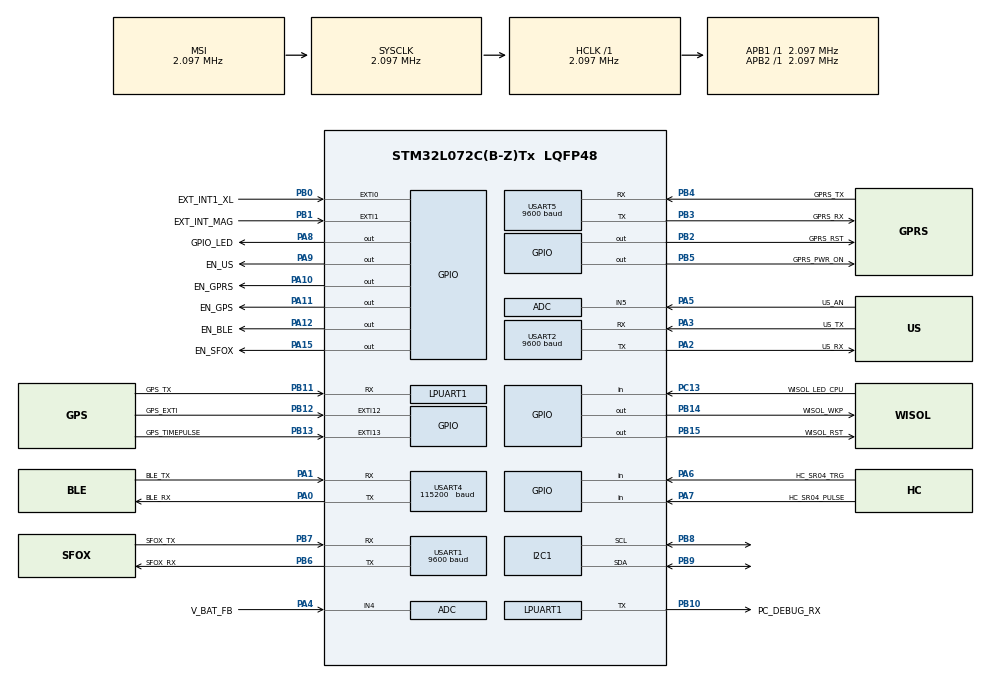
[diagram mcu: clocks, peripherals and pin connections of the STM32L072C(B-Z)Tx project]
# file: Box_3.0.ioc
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Dma.ADC.0.Direction=DMA_PERIPH_TO_MEMORY
Dma.ADC.0.Instance=DMA1_Channel1
Dma.ADC.0.MemDataAlignment=DMA_MDATAALIGN_WORD
Dma.ADC.0.MemInc=DMA_MINC_ENABLE
Dma.ADC.0.Mode=DMA_CIRCULAR
Dma.ADC.0.PeriphDataAlignment=DMA_PDATAALIGN_HALFWORD
Dma.ADC.0.PeriphInc=DMA_PINC_DISABLE
Dma.ADC.0.Priority=DMA_PRIORITY_LOW
Dma.Request0=ADC
Dma.Request1=USART5_RX
Dma.Request2=USART5_TX
Dma.Request3=USART4_RX
Dma.Request4=USART4_TX
Dma.USART4_RX.3.Direction=DMA_PERIPH_TO_MEMORY
Dma.USART4_RX.3.Instance=DMA1_Channel2
Dma.USART4_RX.3.MemDataAlignment=DMA_MDATAALIGN_BYTE
Dma.USART4_RX.3.MemInc=DMA_MINC_ENABLE
Dma.USART4_RX.3.Mode=DMA_NORMAL
Dma.USART4_RX.3.PeriphDataAlignment=DMA_PDATAALIGN_BYTE
Dma.USART4_RX.3.PeriphInc=DMA_PINC_DISABLE
Dma.USART4_RX.3.Priority=DMA_PRIORITY_HIGH
Dma.USART4_TX.4.Direction=DMA_MEMORY_TO_PERIPH
Dma.USART4_TX.4.Instance=DMA1_Channel3
Dma.USART4_TX.4.MemDataAlignment=DMA_MDATAALIGN_BYTE
Dma.USART4_TX.4.MemInc=DMA_MINC_ENABLE
Dma.USART4_TX.4.Mode=DMA_NORMAL
Dma.USART4_TX.4.PeriphDataAlignment=DMA_PDATAALIGN_BYTE
Dma.USART4_TX.4.PeriphInc=DMA_PINC_DISABLE
Dma.USART4_TX.4.Priority=DMA_PRIORITY_HIGH
Dma.USART5_RX.1.Direction=DMA_PERIPH_TO_MEMORY
Dma.USART5_RX.1.Instance=DMA1_Channel6
Dma.USART5_RX.1.MemDataAlignment=DMA_MDATAALIGN_BYTE
Dma.USART5_RX.1.MemInc=DMA_MINC_ENABLE
Dma.USART5_RX.1.Mode=DMA_NORMAL
Dma.USART5_RX.1.PeriphDataAlignment=DMA_PDATAALIGN_BYTE
Dma.USART5_RX.1.PeriphInc=DMA_PINC_DISABLE
Dma.USART5_RX.1.Priority=DMA_PRIORITY_VERY_HIGH
Dma.USART5_TX.2.Direction=DMA_MEMORY_TO_PERIPH
Dma.USART5_TX.2.Instance=DMA1_Channel7
Dma.USART5_TX.2.MemDataAlignment=DMA_MDATAALIGN_BYTE
Dma.USART5_TX.2.MemInc=DMA_MINC_ENABLE
Dma.USART5_TX.2.Mode=DMA_NORMAL
Dma.USART5_TX.2.PeriphDataAlignment=DMA_PDATAALIGN_BYTE
Dma.USART5_TX.2.PeriphInc=DMA_PINC_DISABLE
Dma.USART5_TX.2.Priority=DMA_PRIORITY_VERY_HIGH
LPUART1.BaudRate=9600
LPUART1.WordLength=UART_WORDLENGTH_8B
Mcu.Family=STM32L0
Mcu.Name=STM32L072C(B-Z)Tx
Mcu.Package=LQFP48
NVIC.ADC1_COMP_IRQn=true\:0\:0\:false\:false\:true\:true\:true
NVIC.DMA1_Channel1_IRQn=true\:0\:0\:false\:false\:true\:false\:true
NVIC.DMA1_Channel2_3_IRQn=true\:0\:0\:false\:false\:true\:false\:true
NVIC.DMA1_Channel4_5_6_7_IRQn=true\:0\:0\:false\:false\:true\:false\:true
NVIC.RNG_LPUART1_IRQn=true\:0\:0\:false\:false\:true\:true\:true
NVIC.USART1_IRQn=true\:0\:0\:false\:false\:true\:true\:true
NVIC.USART2_IRQn=true\:0\:0\:false\:false\:true\:true\:true
NVIC.USART4_5_IRQn=true\:0\:0\:false\:false\:true\:true\:true
PA0.GPIO_Label=BLE_RX
PA0.Mode=Asynchronous
PA0.Signal=USART4_TX
PA1.GPIO_Label=BLE_TX
PA1.Mode=Asynchronous
PA1.Signal=USART4_RX
PA10.GPIO_Label=EN_GPRS
PA10.Signal=GPIO_Output
PA11.GPIO_Label=EN_GPS
PA11.Signal=GPIO_Output
PA12.GPIO_Label=EN_BLE
PA12.Signal=GPIO_Output
PA13.Mode=Serial_Wire
PA13.Signal=SYS_SWDIO
PA14.Mode=Serial_Wire
PA14.Signal=SYS_SWCLK
PA15.GPIO_Label=EN_SFOX
PA15.Signal=GPIO_Output
PA2.GPIO_Label=US_RX
PA2.Mode=Asynchronous
PA2.Signal=USART2_TX
PA3.GPIO_Label=US_TX
PA3.Mode=Asynchronous
PA3.Signal=USART2_RX
PA4.GPIO_Label=V_BAT_FB
PA4.Mode=IN4
PA4.Signal=ADC_IN4
PA5.GPIO_Label=US_AN
PA5.Mode=IN5
PA5.Signal=ADC_IN5
PA6.GPIO_Label=HC_SR04_TRG
PA6.Signal=GPIO_Input
PA7.GPIO_Label=HC_SR04_PULSE
PA7.Signal=GPIO_Input
PA8.GPIO_Label=GPIO_LED
PA8.GPIO_PuPd=GPIO_PULLDOWN
PA8.GPIO_Speed=GPIO_SPEED_FREQ_HIGH
PA8.Signal=GPIO_Output
PA9.GPIO_Label=EN_US
PA9.Signal=GPIO_Output
PB0.GPIO_Label=EXT_INT1_XL
PB0.Signal=GPXTI0
PB1.GPIO_Label=EXT_INT_MAG
PB1.Signal=GPXTI1
PB10.GPIO_Label=PC_DEBUG_RX
PB10.Mode=Asynchronous
PB10.Signal=LPUART1_TX
PB11.GPIO_Label=GPS_TX
PB11.Mode=Asynchronous
PB11.Signal=LPUART1_RX
PB12.GPIO_Label=GPS_EXTI
PB12.Signal=GPXTI12
PB13.GPIO_Label=GPS_TIMEPULSE
PB13.Signal=GPXTI13
PB14.GPIO_Label=WISOL_WKP
PB14.PinState=GPIO_PIN_SET
PB14.Signal=GPIO_Output
PB15.GPIO_Label=WISOL_RST
PB15.PinState=GPIO_PIN_SET
PB15.Signal=GPIO_Output
PB2.GPIO_Label=GPRS_RST
PB2.GPIO_ModeDefaultOutputPP=GPIO_MODE_OUTPUT_OD
PB2.GPIO_PuPd=GPIO_PULLUP
PB2.PinState=GPIO_PIN_SET
PB2.Signal=GPIO_Output
PB3.GPIO_Label=GPRS_RX
PB3.Mode=Asynchronous
PB3.Signal=USART5_TX
PB4.GPIO_Label=GPRS_TX
PB4.Mode=Asynchronous
PB4.Signal=USART5_RX
PB5.GPIO_Label=GPRS_PWR_ON
PB5.Signal=GPIO_Output
PB6.GPIO_Label=SFOX_RX
PB6.Mode=Asynchronous
PB6.Signal=USART1_TX
PB7.GPIO_Label=SFOX_TX
PB7.Mode=Asynchronous
PB7.Signal=USART1_RX
PB8.Mode=I2C
PB8.Signal=I2C1_SCL
PB9.Mode=I2C
PB9.Signal=I2C1_SDA
PC13.GPIO_Label=WISOL_LED_CPU
PC13.Signal=GPIO_Input
ProjectManager.HeapSize=0x200
ProjectManager.StackSize=0x400
ProjectManager.TargetToolchain=TrueSTUDIO
RCC.ADCFreq_Value=4000000
RCC.AHBFreq_Value=2097000
RCC.APB1Freq_Value=2097000
RCC.APB1TimFreq_Value=2097000
RCC.APB2Freq_Value=2097000
RCC.APB2TimFreq_Value=2097000
RCC.HCLKFreq_Value=2097000
RCC.HSE_Timout=1000
RCC.HSE_VALUE=8000000
RCC.HSI16_VALUE=16000000
RCC.HSI48_VALUE=48000000
RCC.HSIRCDiv=4
RCC.HSI_VALUE=4000000
RCC.INSTRUCTION_CACHE_ENABLE=0
RCC.LSE_VALUE=32768
RCC.MSI_VALUE=2097000
RCC.PLLDIV=RCC_PLLDIV_4
RCC.PLLMUL=RCC_PLLMUL_4
RCC.PREFETCH_ENABLE=1
RCC.SYSCLKFreq_VALUE=2097000
RCC.VCOOutputFreq_Value=16000000
USART1.BaudRate=9600
USART1.VirtualMode-Asynchronous=VM_ASYNC
USART2.BaudRate=9600
USART2.VirtualMode-Asynchronous=VM_ASYNC
USART4.BaudRate=115200  
USART4.VirtualMode-Asynchronous=VM_ASYNC
USART5.BaudRate=9600
USART5.VirtualMode-Asynchronous=VM_ASYNC
VP_ADC_TempSens_Input.Mode=IN-TempSens
board=custom

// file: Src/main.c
/* USER CODE BEGIN Header */
/**
 ******************************************************************************
 * @file           : main.c
 * @brief          : Main program body
 * @by oscar machado de souza
 * @init - 09/03/2020
 * @project - wizebox
 * @company - Wize Company LTDA
 * @Hardware version - 3.0 (by Bruno Fernandes)
 ******************************************************************************
 * @attention
 *
 * <h2><center>&copy; Copyright (c) 2020 STMicroelectronics.
 * All rights reserved.</center></h2>
 *
 * This software component is licensed by ST under BSD 3-Clause license,
 * the "License"; You may not use this file except in compliance with the
 * License. You may obtain a copy of the License at:
 *                        opensource.org/licenses/BSD-3-Clause
 *
 ******************************************************************************
 ******************************************************************************
 ******************************************************************************
 ******************************************************************************
 ******************************************************************************
 oVersion - 1.0.0	- 09/03/2020 - sigfox enable and work (just init transmission) (test ok).
 oVersion - 1.0.1 	- 10/03/2020 - encoder fix bug.
 oVersion - 1.1.0    - 11/03/2020 - Battery and internal temperature adc read (test ok).
 oVersion - 1.2.0	- 11/03/2020 - LSM303AH library implementation (test ok).
 oVersion - 1.3.0	- 11/02/2020 - GPS implementation (test ok).
 oVersion - 1.3.1	- 12/02/2020 - GPS code optimization.
 oVersion - 1.4.0	- 16/03/2020 - SEN031x implementation (test ok).
 oVersion - 1.5.0	- 16/03/2020 - sensors library implementation - get all sensors values.
 oVersion - 1.6.0	- 16/03/2020 - program library implementation - looping function.
 oVersion - 1.7.0	- 17/03/2020 - Sigfox mensagens imlementation - uplink and downlink frame.
 oVersion - 1.8.0 	- 30/03/2020 - Sara G450 library implementation (test ok).
 oVersion - 1.9.0 	- 07/04/2020 - Nina B112 receiver data mode from BLE device (ublox BLE android app) -
 	 	 	 	 	 	 	 	 	 https://www.u-blox.com/en/product/bluetooth-ios-and-android-app
 */
/* USER CODE END Header */

#include "main.h"

ADC_HandleTypeDef hadc;
DMA_HandleTypeDef hdma_adc;

I2C_HandleTypeDef hi2c1;

UART_HandleTypeDef hlpuart1;
UART_HandleTypeDef huart1;
UART_HandleTypeDef huart2;
UART_HandleTypeDef huart4;
UART_HandleTypeDef huart5;
DMA_HandleTypeDef hdma_usart4_rx;
DMA_HandleTypeDef hdma_usart4_tx;
DMA_HandleTypeDef hdma_usart5_rx;
DMA_HandleTypeDef hdma_usart5_tx;

/* USER CODE BEGIN PV */

//variable to keep USART received data
//__IO ITStatus UartReady = RESET;
/* USER CODE END PV */

void SystemClock_Config(void);
static void MX_GPIO_Init(void);
static void MX_DMA_Init(void);
static void MX_ADC_Init(void);
static void MX_I2C1_Init(void);
static void MX_LPUART1_UART_Init(void);
static void MX_USART1_UART_Init(void);
static void MX_USART2_UART_Init(void);
static void MX_USART4_UART_Init(void);
static void MX_USART5_UART_Init(void);
/* USER CODE BEGIN PFP */
float get_temp(uint32_t variable);

/* USER CODE END PFP */

int main(void) {

	/* MCU Configuration--------------------------------------------------------*/

	/* Reset of all peripherals, Initializes the Flash interface and the Systick. */
	HAL_Init();

	/* Configure the system clock */
	SystemClock_Config();

	/* Initialize all configured peripherals */
	MX_GPIO_Init();
	MX_DMA_Init();
	MX_ADC_Init();
	MX_I2C1_Init();
	MX_LPUART1_UART_Init();
	MX_USART1_UART_Init();
	MX_USART2_UART_Init();
	MX_USART4_UART_Init();
	MX_USART5_UART_Init();
	/* USER CODE BEGIN 2 */

	blink(10);
	fn_set_perimetral_nina();
	//fn_start_program();

	/* USER CODE END 2 */

	/* Infinite loop */
	while (1) {

	}
}

void SystemClock_Config(void) {
	RCC_OscInitTypeDef RCC_OscInitStruct = { 0 };
	RCC_ClkInitTypeDef RCC_ClkInitStruct = { 0 };
	RCC_PeriphCLKInitTypeDef PeriphClkInit = { 0 };

	/** Configure the main internal regulator output voltage
	 */
	__HAL_PWR_VOLTAGESCALING_CONFIG(PWR_REGULATOR_VOLTAGE_SCALE1);
	/** Initializes the CPU, AHB and APB busses clocks
	 */
	RCC_OscInitStruct.OscillatorType = RCC_OSCILLATORTYPE_MSI;
	RCC_OscInitStruct.MSIState = RCC_MSI_ON;
	RCC_OscInitStruct.MSICalibrationValue = 0;
	RCC_OscInitStruct.MSIClockRange = RCC_MSIRANGE_5;
	RCC_OscInitStruct.PLL.PLLState = RCC_PLL_NONE;
	if (HAL_RCC_OscConfig(&RCC_OscInitStruct) != HAL_OK) {
		Error_Handler();
	}
	/** Initializes the CPU, AHB and APB busses clocks
	 */
	RCC_ClkInitStruct.ClockType = RCC_CLOCKTYPE_HCLK | RCC_CLOCKTYPE_SYSCLK
			| RCC_CLOCKTYPE_PCLK1 | RCC_CLOCKTYPE_PCLK2;
	RCC_ClkInitStruct.SYSCLKSource = RCC_SYSCLKSOURCE_MSI;
	RCC_ClkInitStruct.AHBCLKDivider = RCC_SYSCLK_DIV1;
	RCC_ClkInitStruct.APB1CLKDivider = RCC_HCLK_DIV1;
	RCC_ClkInitStruct.APB2CLKDivider = RCC_HCLK_DIV1;

	if (HAL_RCC_ClockConfig(&RCC_ClkInitStruct, FLASH_LATENCY_0) != HAL_OK) {
		Error_Handler();
	}
	PeriphClkInit.PeriphClockSelection = RCC_PERIPHCLK_USART1
			| RCC_PERIPHCLK_USART2 | RCC_PERIPHCLK_LPUART1 | RCC_PERIPHCLK_I2C1;
	PeriphClkInit.Usart1ClockSelection = RCC_USART1CLKSOURCE_PCLK2;
	PeriphClkInit.Usart2ClockSelection = RCC_USART2CLKSOURCE_PCLK1;
	PeriphClkInit.Lpuart1ClockSelection = RCC_LPUART1CLKSOURCE_PCLK1;
	PeriphClkInit.I2c1ClockSelection = RCC_I2C1CLKSOURCE_PCLK1;
	if (HAL_RCCEx_PeriphCLKConfig(&PeriphClkInit) != HAL_OK) {
		Error_Handler();
	}
}

static void MX_ADC_Init(void) {

	ADC_ChannelConfTypeDef sConfig = { 0 };

	/** Configure the global features of the ADC (Clock, Resolution, Data Alignment and number of conversion)
	 */
	hadc.Instance = ADC1;
	hadc.Init.OversamplingMode = DISABLE;
	hadc.Init.ClockPrescaler = ADC_CLOCK_SYNC_PCLK_DIV1;
	hadc.Init.Resolution = ADC_RESOLUTION_12B;
	hadc.Init.SamplingTime = ADC_SAMPLETIME_1CYCLE_5;
	hadc.Init.ScanConvMode = ADC_SCAN_DIRECTION_FORWARD;
	hadc.Init.DataAlign = ADC_DATAALIGN_RIGHT;
	hadc.Init.ContinuousConvMode = DISABLE;
	hadc.Init.DiscontinuousConvMode = DISABLE;
	hadc.Init.ExternalTrigConvEdge = ADC_EXTERNALTRIGCONVEDGE_NONE;
	hadc.Init.ExternalTrigConv = ADC_SOFTWARE_START;
	hadc.Init.DMAContinuousRequests = DISABLE;
	hadc.Init.EOCSelection = ADC_EOC_SINGLE_CONV;
	hadc.Init.Overrun = ADC_OVR_DATA_PRESERVED;
	hadc.Init.LowPowerAutoWait = DISABLE;
	hadc.Init.LowPowerFrequencyMode = DISABLE;
	hadc.Init.LowPowerAutoPowerOff = DISABLE;
	if (HAL_ADC_Init(&hadc) != HAL_OK) {
		Error_Handler();
	}
	/** Configure for the selected ADC regular channel to be converted.
	 */
	sConfig.Channel = ADC_CHANNEL_4;
	sConfig.Rank = ADC_RANK_CHANNEL_NUMBER;
	if (HAL_ADC_ConfigChannel(&hadc, &sConfig) != HAL_OK) {
		Error_Handler();
	}
	/** Configure for the selected ADC regular channel to be converted.
	 */
	sConfig.Channel = ADC_CHANNEL_5;
	if (HAL_ADC_ConfigChannel(&hadc, &sConfig) != HAL_OK) {
		Error_Handler();
	}
	/** Configure for the selected ADC regular channel to be converted.
	 */
	sConfig.Channel = ADC_CHANNEL_TEMPSENSOR;
	if (HAL_ADC_ConfigChannel(&hadc, &sConfig) != HAL_OK) {
		Error_Handler();
	}
	/* USER CODE BEGIN ADC_Init 2 */
	HAL_ADC_Start_DMA(&hadc, value, 3);
	/* USER CODE END ADC_Init 2 */

}

static void MX_I2C1_Init(void) {

	hi2c1.Instance = I2C1;
	hi2c1.Init.Timing = 0x00000708;
	hi2c1.Init.OwnAddress1 = 0;
	hi2c1.Init.AddressingMode = I2C_ADDRESSINGMODE_7BIT;
	hi2c1.Init.DualAddressMode = I2C_DUALADDRESS_DISABLE;
	hi2c1.Init.OwnAddress2 = 0;
	hi2c1.Init.OwnAddress2Masks = I2C_OA2_NOMASK;
	hi2c1.Init.GeneralCallMode = I2C_GENERALCALL_DISABLE;
	hi2c1.Init.NoStretchMode = I2C_NOSTRETCH_DISABLE;
	if (HAL_I2C_Init(&hi2c1) != HAL_OK) {
		Error_Handler();
	}
	/** Configure Analogue filter
	 */
	if (HAL_I2CEx_ConfigAnalogFilter(&hi2c1, I2C_ANALOGFILTER_ENABLE)
			!= HAL_OK) {
		Error_Handler();
	}
	/** Configure Digital filter
	 */
	if (HAL_I2CEx_ConfigDigitalFilter(&hi2c1, 0) != HAL_OK) {
		Error_Handler();
	}

}

static void MX_LPUART1_UART_Init(void) {

	hlpuart1.Instance = LPUART1;
	hlpuart1.Init.BaudRate = 9600;
	hlpuart1.Init.WordLength = UART_WORDLENGTH_8B;
	hlpuart1.Init.StopBits = UART_STOPBITS_1;
	hlpuart1.Init.Parity = UART_PARITY_NONE;
	hlpuart1.Init.Mode = UART_MODE_TX_RX;
	hlpuart1.Init.HwFlowCtl = UART_HWCONTROL_NONE;
	hlpuart1.Init.OneBitSampling = UART_ONE_BIT_SAMPLE_DISABLE;
	hlpuart1.AdvancedInit.AdvFeatureInit = UART_ADVFEATURE_NO_INIT;
	if (HAL_UART_Init(&hlpuart1) != HAL_OK) {
		Error_Handler();
	}

}

static void MX_USART1_UART_Init(void) {

	huart1.Instance = USART1;
	huart1.Init.BaudRate = 9600;
	huart1.Init.WordLength = UART_WORDLENGTH_8B;
	huart1.Init.StopBits = UART_STOPBITS_1;
	huart1.Init.Parity = UART_PARITY_NONE;
	huart1.Init.Mode = UART_MODE_TX_RX;
	huart1.Init.HwFlowCtl = UART_HWCONTROL_NONE;
	huart1.Init.OverSampling = UART_OVERSAMPLING_16;
	huart1.Init.OneBitSampling = UART_ONE_BIT_SAMPLE_DISABLE;
	huart1.AdvancedInit.AdvFeatureInit = UART_ADVFEATURE_NO_INIT;
	if (HAL_UART_Init(&huart1) != HAL_OK) {
		Error_Handler();
	}

}

static void MX_USART2_UART_Init(void) {

	huart2.Instance = USART2;
	huart2.Init.BaudRate = 9600;
	huart2.Init.WordLength = UART_WORDLENGTH_8B;
	huart2.Init.StopBits = UART_STOPBITS_1;
	huart2.Init.Parity = UART_PARITY_NONE;
	huart2.Init.Mode = UART_MODE_TX_RX;
	huart2.Init.HwFlowCtl = UART_HWCONTROL_NONE;
	huart2.Init.OverSampling = UART_OVERSAMPLING_16;
	huart2.Init.OneBitSampling = UART_ONE_BIT_SAMPLE_DISABLE;
	huart2.AdvancedInit.AdvFeatureInit = UART_ADVFEATURE_NO_INIT;
	if (HAL_UART_Init(&huart2) != HAL_OK) {
		Error_Handler();
	}

}

static void MX_USART4_UART_Init(void) {

	huart4.Instance = USART4;
	huart4.Init.BaudRate = 115200;
	huart4.Init.WordLength = UART_WORDLENGTH_8B;
	huart4.Init.StopBits = UART_STOPBITS_1;
	huart4.Init.Parity = UART_PARITY_NONE;
	huart4.Init.Mode = UART_MODE_TX_RX;
	huart4.Init.HwFlowCtl = UART_HWCONTROL_NONE;
	huart4.Init.OverSampling = UART_OVERSAMPLING_16;
	huart4.Init.OneBitSampling = UART_ONE_BIT_SAMPLE_DISABLE;
	huart4.AdvancedInit.AdvFeatureInit = UART_ADVFEATURE_NO_INIT;
	if (HAL_UART_Init(&huart4) != HAL_OK) {
		Error_Handler();
	}

}

static void MX_USART5_UART_Init(void) {

	huart5.Instance = USART5;
	huart5.Init.BaudRate = 9600;
	huart5.Init.WordLength = UART_WORDLENGTH_8B;
	huart5.Init.StopBits = UART_STOPBITS_1;
	huart5.Init.Parity = UART_PARITY_NONE;
	huart5.Init.Mode = UART_MODE_TX_RX;
	huart5.Init.HwFlowCtl = UART_HWCONTROL_NONE;
	huart5.Init.OverSampling = UART_OVERSAMPLING_16;
	huart5.Init.OneBitSampling = UART_ONE_BIT_SAMPLE_DISABLE;
	huart5.AdvancedInit.AdvFeatureInit = UART_ADVFEATURE_NO_INIT;
	if (HAL_UART_Init(&huart5) != HAL_OK) {
		Error_Handler();
	}

}

static void MX_DMA_Init(void) {

	/* DMA controller clock enable */
	__HAL_RCC_DMA1_CLK_ENABLE()
	;

	/* DMA interrupt init */
	/* DMA1_Channel1_IRQn interrupt configuration */
	HAL_NVIC_SetPriority(DMA1_Channel1_IRQn, 0, 0);
	HAL_NVIC_EnableIRQ(DMA1_Channel1_IRQn);
	/* DMA1_Channel2_3_IRQn interrupt configuration */
	HAL_NVIC_SetPriority(DMA1_Channel2_3_IRQn, 0, 0);
	HAL_NVIC_EnableIRQ(DMA1_Channel2_3_IRQn);
	/* DMA1_Channel4_5_6_7_IRQn interrupt configuration */
	HAL_NVIC_SetPriority(DMA1_Channel4_5_6_7_IRQn, 0, 0);
	HAL_NVIC_EnableIRQ(DMA1_Channel4_5_6_7_IRQn);

}

static void MX_GPIO_Init(void) {
	GPIO_InitTypeDef GPIO_InitStruct = { 0 };

	/* GPIO Ports Clock Enable */
	__HAL_RCC_GPIOC_CLK_ENABLE()
	;
	__HAL_RCC_GPIOH_CLK_ENABLE()
	;
	__HAL_RCC_GPIOA_CLK_ENABLE()
	;
	__HAL_RCC_GPIOB_CLK_ENABLE()
	;

	/*Configure GPIO pin Output Level */
	HAL_GPIO_WritePin(GPIOB, GPRS_RST_Pin | WISOL_WKP_Pin | WISOL_RST_Pin,
			GPIO_PIN_SET);

	/*Configure GPIO pin Output Level */
	HAL_GPIO_WritePin(GPIOA,
			GPIO_LED_Pin | EN_US_Pin | EN_GPRS_Pin | EN_GPS_Pin | EN_BLE_Pin
					| EN_SFOX_Pin, GPIO_PIN_RESET);

	/*Configure GPIO pin Output Level */
	HAL_GPIO_WritePin(GPRS_PWR_ON_GPIO_Port, GPRS_PWR_ON_Pin, GPIO_PIN_RESET);

	/*Configure GPIO pin : WISOL_LED_CPU_Pin */
	GPIO_InitStruct.Pin = WISOL_LED_CPU_Pin;
	GPIO_InitStruct.Mode = GPIO_MODE_INPUT;
	GPIO_InitStruct.Pull = GPIO_NOPULL;
	HAL_GPIO_Init(WISOL_LED_CPU_GPIO_Port, &GPIO_InitStruct);

	/*Configure GPIO pins : PC14 PC15 */
	GPIO_InitStruct.Pin = GPIO_PIN_14 | GPIO_PIN_15;
	GPIO_InitStruct.Mode = GPIO_MODE_ANALOG;
	GPIO_InitStruct.Pull = GPIO_NOPULL;
	HAL_GPIO_Init(GPIOC, &GPIO_InitStruct);

	/*Configure GPIO pins : PH0 PH1 */
	GPIO_InitStruct.Pin = GPIO_PIN_0 | GPIO_PIN_1;
	GPIO_InitStruct.Mode = GPIO_MODE_ANALOG;
	GPIO_InitStruct.Pull = GPIO_NOPULL;
	HAL_GPIO_Init(GPIOH, &GPIO_InitStruct);

	/*Configure GPIO pins : HC_SR04_TRG_Pin HC_SR04_PULSE_Pin */
	GPIO_InitStruct.Pin = HC_SR04_TRG_Pin | HC_SR04_PULSE_Pin;
	GPIO_InitStruct.Mode = GPIO_MODE_INPUT;
	GPIO_InitStruct.Pull = GPIO_NOPULL;
	HAL_GPIO_Init(GPIOA, &GPIO_InitStruct);

	/*Configure GPIO pins : EXT_INT1_XL_Pin EXT_INT_MAG_Pin GPS_EXTI_Pin GPS_TIMEPULSE_Pin */
	GPIO_InitStruct.Pin = EXT_INT1_XL_Pin | EXT_INT_MAG_Pin | GPS_EXTI_Pin
			| GPS_TIMEPULSE_Pin;
	GPIO_InitStruct.Mode = GPIO_MODE_IT_RISING;
	GPIO_InitStruct.Pull = GPIO_NOPULL;
	HAL_GPIO_Init(GPIOB, &GPIO_InitStruct);

	/*Configure GPIO pin : GPRS_RST_Pin */
	GPIO_InitStruct.Pin = GPRS_RST_Pin;
	GPIO_InitStruct.Mode = GPIO_MODE_OUTPUT_OD;
	GPIO_InitStruct.Pull = GPIO_PULLUP;
	GPIO_InitStruct.Speed = GPIO_SPEED_FREQ_LOW;
	HAL_GPIO_Init(GPRS_RST_GPIO_Port, &GPIO_InitStruct);

	/*Configure GPIO pins : WISOL_WKP_Pin WISOL_RST_Pin GPRS_PWR_ON_Pin */
	GPIO_InitStruct.Pin = WISOL_WKP_Pin | WISOL_RST_Pin | GPRS_PWR_ON_Pin;
	GPIO_InitStruct.Mode = GPIO_MODE_OUTPUT_PP;
	GPIO_InitStruct.Pull = GPIO_NOPULL;
	GPIO_InitStruct.Speed = GPIO_SPEED_FREQ_LOW;
	HAL_GPIO_Init(GPIOB, &GPIO_InitStruct);

	/*Configure GPIO pin : GPIO_LED_Pin */
	GPIO_InitStruct.Pin = GPIO_LED_Pin;
	GPIO_InitStruct.Mode = GPIO_MODE_OUTPUT_PP;
	GPIO_InitStruct.Pull = GPIO_PULLDOWN;
	GPIO_InitStruct.Speed = GPIO_SPEED_FREQ_HIGH;
	HAL_GPIO_Init(GPIO_LED_GPIO_Port, &GPIO_InitStruct);

	/*Configure GPIO pins : EN_US_Pin EN_GPRS_Pin EN_GPS_Pin EN_BLE_Pin
	 EN_SFOX_Pin */
	GPIO_InitStruct.Pin = EN_US_Pin | EN_GPRS_Pin | EN_GPS_Pin | EN_BLE_Pin
			| EN_SFOX_Pin;
	GPIO_InitStruct.Mode = GPIO_MODE_OUTPUT_PP;
	GPIO_InitStruct.Pull = GPIO_NOPULL;
	GPIO_InitStruct.Speed = GPIO_SPEED_FREQ_LOW;
	HAL_GPIO_Init(GPIOA, &GPIO_InitStruct);

}

/* USER CODE BEGIN 4 */

void blink(uint8_t times) {
	for (int var = 0; var < times; ++var) {
		LED_ON
		HAL_Delay(25);
		LED_OFF
		HAL_Delay(25);
	}

}

void fn_fprint(char *data) {
	int tamanho = strlen(data);
	char new_command[tamanho];
	strcpy(new_command, data);
	char new_com[1]; // (uint8_t*)new_command;
	for (int var = 0; var < tamanho; ++var) {
		new_com[0] = new_command[var];
		HAL_UART_Transmit(&hlpuart1, (uint8_t*) new_com, 1, 10);
	}
}

void HAL_UART_TxCpltCallback(UART_HandleTypeDef *huart) {
	UartReady = SET;
	if (huart->Instance == USART4) {

	}
	if (huart->Instance == LPUART1) {
		NINAbytesToReceive=0;
		memset(recever_nina_uart,0,100);
		HAL_UART_Receive_DMA(&huart4, (uint8_t*) &byte_nina, 1);
	}
}

void HAL_UART_RxCpltCallback(UART_HandleTypeDef *huart) {
	UartReady = SET;
	if (huart->Instance == USART4) {

		if (byte_nina != 0) {
			recever_nina_uart[NINAbytesToReceive] = byte_nina;
			++NINAbytesToReceive;
			HAL_UART_Receive_DMA(&huart4, (uint8_t*) &byte_nina, 1);
			if (byte_nina == 10) {
				recever_nina_uart[NINAbytesToReceive] = byte_nina;
				++NINAbytesToReceive;
				HAL_UART_Transmit_IT(&hlpuart1, (uint8_t*) &recever_nina_uart,
						NINAbytesToReceive);
			}
		}
	}
}

void HAL_UART_RxHalfCpltCallback(UART_HandleTypeDef *huart) {
	LED_CHANGE
}

float get_temp(uint32_t variable)   // function to read temp from the value
{
	return (((V25 - VSENSE * variable) / Avg_Slope) + 25);
}

void fn_get_stm32_temperature() {
	HAL_ADC_Start_DMA(&hadc, value, 3);
	st_stm_adc_variables.temperature = get_temp(value[2]) / 10;
}

void fn_get_stm32_volts() {
	HAL_ADC_Start_DMA(&hadc, value, 3);
	st_stm_adc_variables.battery = value[0];
	st_stm_adc_variables.battery /= 1000;
}

void fn_fprintnumber(int number) {
	char numbuff[] = "\0";
	itoa(number, numbuff, 10);
	fn_fprint(numbuff);
}

void fn_change_baundrate(void) {
	HAL_Delay(200);
	huart4.Init.BaudRate = 115200;
	if (HAL_UART_Init(&huart4) != HAL_OK) {
		Error_Handler();
	}
	HAL_Delay(1000);
}
/*void HAL_ADC_ConvCpltCallback(ADC_HandleTypeDef* hadc)
 {
 for (int i =0; i<3; i++)
 {
 adc[i] = buffer[i];
 }

 temperature = (((adc[2]*vsense)-.76)/.0025)+25;
 }*/

/* USER CODE END 4 */

void Error_Handler(void) {
}

/************************ (C) COPYRIGHT STMicroelectronics *****END OF FILE****/
